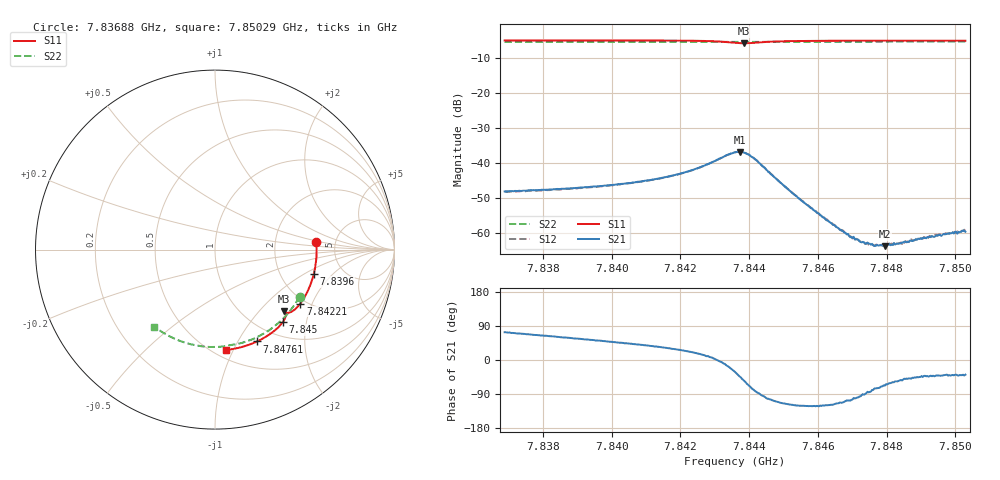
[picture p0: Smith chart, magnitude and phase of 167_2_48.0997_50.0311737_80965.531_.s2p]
#  HZ  S  RI  R  50.00
! Rohde & Schwarz Vector Network Analyzer
! Rohde-Schwarz,ZNB20-2Port,1311601062101988,3.16
! Created: UTC 12/23/2023, 3:51:22 AM
! freq[Hz]  re:S11  im:S11  re:S21  im:S21  re:S12  im:S12  re:S22  im:S22
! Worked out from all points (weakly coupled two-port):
!   401 points, 7.83688 GHz to 7.85029 GHz, reference 50 ohm
!   highest |S21| = -36.78 dB at 7.84372 GHz (marker M1); lowest = -63.8 dB at 7.84795 GHz (marker M2)
!   lowest |S11| = -5.7 dB at 7.84386 GHz (marker M3), VSWR 3.14, Z = 74 - j69.5 ohm
!   |S11| at or under -10 dB: nowhere
!   |S22| runs from -5.4 to -5.3 dB; largest |S21 - S12| = 0.00024
!   S11 on the Smith chart (normalised r, x): 7.83688 GHz: 3.55, +0.46; 7.8396 GHz: 3.07, -1.23; 7.84221 GHz: 1.87, -1.64; 7.845 GHz: 1.26, -1.47; 7.84761 GHz: 0.80, -1.21; 7.85029 GHz: 0.57, -0.94
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7.836881e9  0.5645 0.0437  0.00114 0.00377  0.00118 0.0037  0.471 -0.263
7.839128e9  0.5568 -0.1055  0.00255 0.00368  0.0025 0.00363  0.3761 -0.388
7.839598e9  0.5502 -0.1362  0.0029 0.00364  0.00286 0.00362  0.3519 -0.4102
7.840503e9  0.5321 -0.1947  0.00376 0.00358  0.00373 0.00356  0.3016 -0.4488
7.841375e9  0.5076 -0.2496  0.00494 0.00342  0.00493 0.00342  0.2492 -0.4804
7.842213e9  0.4755 -0.3005  0.007 0.00292  0.00697 0.00295  0.1955 -0.5048
7.842615e9  0.4556 -0.3236  0.0086 0.00223  0.00856 0.0023  0.1686 -0.5141
7.843085e9  0.4263 -0.3459  0.0112 -0.0002  0.0112 -0.000155  0.1368 -0.5229
7.843588e9  0.3913 -0.3504  0.0121 -0.00742  0.0122 -0.00735  0.1032 -0.5291
7.843722e9  0.3866 -0.3467  0.0105 -0.00999  0.0106 -0.00987  0.0946 -0.5306
7.843856e9  0.3863 -0.3438  0.00803 -0.0116  0.00809 -0.0116  0.0862 -0.5321
7.844158e9  0.3929 -0.3492  0.00184 -0.0114  0.00183 -0.0113  0.0668 -0.5361
7.844996e9  0.3779 -0.4035  -0.002 -0.00438  -0.00199 -0.0044  0.00845 -0.5426
7.845835e9  0.3367 -0.4474  -0.00118 -0.0019  -0.00115 -0.00192  -0.0507 -0.5411
7.846941e9  0.2742 -0.491  -0.000264 -0.000832  -0.000259 -0.000865  -0.1276 -0.5291
7.84731e9  0.2523 -0.503  -1.27e-06 -0.000749  -8.08e-05 -0.000759  -0.1526 -0.5226
7.847612e9  0.234 -0.512  0.00013 -0.000655  0.000121 -0.000661  -0.1728 -0.5163
7.847947e9  0.2133 -0.5209  0.000244 -0.000602  0.000283 -0.000617  -0.195 -0.5086
7.848081e9  0.205 -0.5243  0.000333 -0.00061  0.000356 -0.000615  -0.2039 -0.5053
7.848517e9  0.1776 -0.5343  0.000492 -0.000571  0.000476 -0.000548  -0.232 -0.4934
7.849389e9  0.1214 -0.5494  0.000643 -0.0006  0.000684 -0.000628  -0.286 -0.4646
7.850294e9  0.0621 -0.559  0.000814 -0.000655  0.000828 -0.000679  -0.3382 -0.4289
